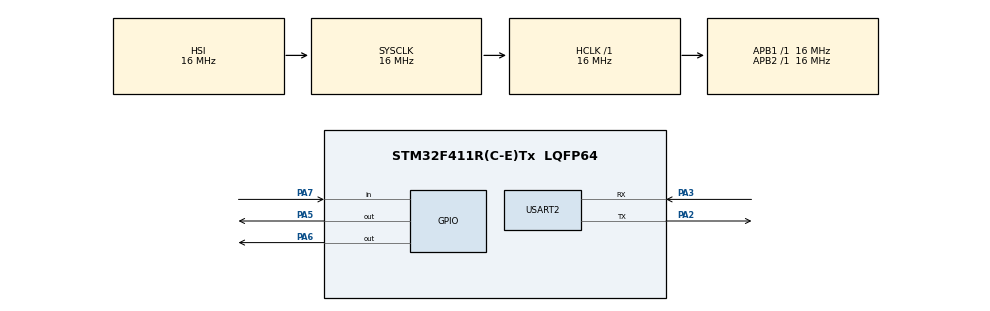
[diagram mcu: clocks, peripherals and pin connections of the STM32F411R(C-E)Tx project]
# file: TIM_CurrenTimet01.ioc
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Mcu.Family=STM32F4
Mcu.Name=STM32F411R(C-E)Tx
Mcu.Package=LQFP64
NVIC.FPU_IRQn=true\:2\:0\:true\:false\:true\:true
NVIC.PriorityGroup=NVIC_PRIORITYGROUP_4
NVIC.TIM1_UP_TIM10_IRQn=true\:1\:0\:true\:false\:true\:true
PA2.GPIO_Speed=GPIO_SPEED_FREQ_HIGH
PA2.Mode=Asynchronous
PA2.Signal=USART2_TX
PA3.GPIO_Speed=GPIO_SPEED_FREQ_HIGH
PA3.Mode=Asynchronous
PA3.Signal=USART2_RX
PA5.GPIO_Speed=GPIO_SPEED_FREQ_VERY_HIGH
PA5.Signal=GPIO_Output
PA6.GPIO_Speed=GPIO_SPEED_FREQ_VERY_HIGH
PA6.Signal=GPIO_Output
PA7.Signal=GPIO_Input
ProjectManager.HeapSize=0x200
ProjectManager.StackSize=0x400
ProjectManager.TargetToolchain=MDK-ARM V5
RCC.AHBFreq_Value=16000000
RCC.APB1Freq_Value=16000000
RCC.APB2Freq_Value=16000000
RCC.CortexFreq_Value=16000000
RCC.HSE_VALUE=25000000
RCC.HSI_VALUE=16000000
RCC.LSE_VALUE=32768
RCC.SYSCLKFreq_VALUE=16000000
RCC.VCOOutputFreq_Value=192000000
TIM1.Period=400-1
TIM1.Prescaler=40-1
USART2.VirtualMode=VM_ASYNC
VP_TIM1_VS_ClockSourceINT.Mode=Internal
board=TIM_CurrenTimet01

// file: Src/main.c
/**
  ******************************************************************************
  * @file           : main.c
  * @brief          : Main program body
  ******************************************************************************
  ** This notice applies to any and all portions of this file
  * that are not between comment pairs USER CODE BEGIN and
  * USER CODE END. Other portions of this file, whether
  * inserted by the user or by software development tools
  * are owned by their respective copyright owners.
  *
  * COPYRIGHT(c) 2018 STMicroelectronics
  *
  * Redistribution and use in source and binary forms, with or without modification,
  * are permitted provided that the following conditions are met:
  *   1. Redistributions of source code must retain the above copyright notice,
  *      this list of conditions and the following disclaimer.
  *   2. Redistributions in binary form must reproduce the above copyright notice,
  *      this list of conditions and the following disclaimer in the documentation
  *      and/or other materials provided with the distribution.
  *   3. Neither the name of STMicroelectronics nor the names of its contributors
  *      may be used to endorse or promote products derived from this software
  *      without specific prior written permission.
  *
  * THIS SOFTWARE IS PROVIDED BY THE COPYRIGHT HOLDERS AND CONTRIBUTORS "AS IS"
  * AND ANY EXPRESS OR IMPLIED WARRANTIES, INCLUDING, BUT NOT LIMITED TO, THE
  * IMPLIED WARRANTIES OF MERCHANTABILITY AND FITNESS FOR A PARTICULAR PURPOSE ARE
  * DISCLAIMED. IN NO EVENT SHALL THE COPYRIGHT HOLDER OR CONTRIBUTORS BE LIABLE
  * FOR ANY DIRECT, INDIRECT, INCIDENTAL, SPECIAL, EXEMPLARY, OR CONSEQUENTIAL
  * DAMAGES (INCLUDING, BUT NOT LIMITED TO, PROCUREMENT OF SUBSTITUTE GOODS OR
  * SERVICES; LOSS OF USE, DATA, OR PROFITS; OR BUSINESS INTERRUPTION) HOWEVER
  * CAUSED AND ON ANY THEORY OF LIABILITY, WHETHER IN CONTRACT, STRICT LIABILITY,
  * OR TORT (INCLUDING NEGLIGENCE OR OTHERWISE) ARISING IN ANY WAY OUT OF THE USE
  * OF THIS SOFTWARE, EVEN IF ADVISED OF THE POSSIBILITY OF SUCH DAMAGE.
  *
  ******************************************************************************
  */
#include "main.h"
#include "stm32f4xx_hal.h"

/* USER CODE BEGIN Includes */
#include <string.h>
/* USER CODE END Includes */

TIM_HandleTypeDef htim1;

UART_HandleTypeDef huart2;

/* USER CODE BEGIN PV */
/* Private variables ---------------------------------------------------------*/
int time;
int count = 0;
char cmd[50];
char value[205];
char input[255];

uint8_t alarm_lock = 0;
uint8_t alarm_enabled = 0;
uint32_t alarm_end = 0;

char alarmtime[8] = "00:00:00";
char strtime[8] = "00:00:00";
/* USER CODE END PV */

void SystemClock_Config(void);
static void MX_GPIO_Init(void);
static void MX_TIM1_Init(void);
static void MX_USART2_UART_Init(void);

/* USER CODE BEGIN PFP */
/* Private function prototypes -----------------------------------------------*/
void setAlarm(void);
void extractCmd(void);
void scan(uint8_t * msg);
void print(uint8_t * msg, uint8_t len);
void clearInput(void);
void setTime(void);
void getTimeFormat(void);
/* USER CODE END PFP */

int main(void)
{

  /* MCU Configuration----------------------------------------------------------*/

  /* Reset of all peripherals, Initializes the Flash interface and the Systick. */
  HAL_Init();

  /* Configure the system clock */
  SystemClock_Config();

  /* Initialize all configured peripherals */
  MX_GPIO_Init();
  MX_TIM1_Init();
  MX_USART2_UART_Init();
  /* USER CODE BEGIN 2 */
	HAL_TIM_Base_Start_IT(&htim1);

	char buffer = 0x00;
	char cmptime[8];

  /* USER CODE END 2 */

  /* Infinite loop */
  while (1)
  {

  /* USER CODE BEGIN 3 */
		buffer = 0x00;

		if (time >= 86400000) time = 0;

		getTimeFormat();
		strcpy(cmptime, strtime);
		print((uint8_t *) &strtime, 9);
		print((uint8_t*) "\r", 1);

		if (HAL_GPIO_ReadPin(GPIOA, GPIO_PIN_7) == SET)
		{
			alarm_lock = 0;
		}

		if (alarm_enabled)
		{
			if (strcmp(cmptime, alarmtime) == -48)
			{
				alarm_lock = 1;
				alarm_end = time + 60000;
				if (alarm_end >= 86400000) alarm_end = 86400000 - time + 60000;
			}

			if (alarm_lock)
			{
				HAL_GPIO_WritePin(GPIOA, GPIO_PIN_5, GPIO_PIN_SET);
				HAL_Delay(500);
				HAL_GPIO_WritePin(GPIOA, GPIO_PIN_5, GPIO_PIN_RESET);
				print((uint8_t *) "ohayo !! .....\n\r", 20);
				HAL_Delay(500);

				if (alarm_end <= time) alarm_lock = 0;
			}
		}

		scan((uint8_t *) &buffer);

		if (buffer > 0)
		{
			if (buffer != 0x0D)
			{
				input[count] = buffer;
				count++;
			}
			else
			{
				extractCmd();
				print((uint8_t*) cmd, 50);
				print((uint8_t*) " ", 1);
				print((uint8_t*) value, 205);
				print((uint8_t*) "\n\r", 2);

				if (strcmp(cmd, "set") == 0) setTime();
				else if (strcmp(cmd, "alarm") == 0) setAlarm();

				clearInput();
				buffer = 0x00;
			}
		}
  }
  /* USER CODE END 3 */

}

void SystemClock_Config(void)
{

  RCC_OscInitTypeDef RCC_OscInitStruct;
  RCC_ClkInitTypeDef RCC_ClkInitStruct;

    /**Configure the main internal regulator output voltage
    */
  __HAL_RCC_PWR_CLK_ENABLE();

  __HAL_PWR_VOLTAGESCALING_CONFIG(PWR_REGULATOR_VOLTAGE_SCALE1);

    /**Initializes the CPU, AHB and APB busses clocks
    */
  RCC_OscInitStruct.OscillatorType = RCC_OSCILLATORTYPE_HSI;
  RCC_OscInitStruct.HSIState = RCC_HSI_ON;
  RCC_OscInitStruct.HSICalibrationValue = 16;
  RCC_OscInitStruct.PLL.PLLState = RCC_PLL_NONE;
  if (HAL_RCC_OscConfig(&RCC_OscInitStruct) != HAL_OK)
  {
    _Error_Handler(__FILE__, __LINE__);
  }

    /**Initializes the CPU, AHB and APB busses clocks
    */
  RCC_ClkInitStruct.ClockType = RCC_CLOCKTYPE_HCLK|RCC_CLOCKTYPE_SYSCLK
                              |RCC_CLOCKTYPE_PCLK1|RCC_CLOCKTYPE_PCLK2;
  RCC_ClkInitStruct.SYSCLKSource = RCC_SYSCLKSOURCE_HSI;
  RCC_ClkInitStruct.AHBCLKDivider = RCC_SYSCLK_DIV1;
  RCC_ClkInitStruct.APB1CLKDivider = RCC_HCLK_DIV1;
  RCC_ClkInitStruct.APB2CLKDivider = RCC_HCLK_DIV1;

  if (HAL_RCC_ClockConfig(&RCC_ClkInitStruct, FLASH_LATENCY_0) != HAL_OK)
  {
    _Error_Handler(__FILE__, __LINE__);
  }

    /**Configure the Systick interrupt time
    */
  HAL_SYSTICK_Config(HAL_RCC_GetHCLKFreq()/1000);

    /**Configure the Systick
    */
  HAL_SYSTICK_CLKSourceConfig(SYSTICK_CLKSOURCE_HCLK);

  /* SysTick_IRQn interrupt configuration */
  HAL_NVIC_SetPriority(SysTick_IRQn, 0, 0);
}

/* TIM1 init function */
static void MX_TIM1_Init(void)
{

  TIM_ClockConfigTypeDef sClockSourceConfig;
  TIM_MasterConfigTypeDef sMasterConfig;

  htim1.Instance = TIM1;
  htim1.Init.Prescaler = 40-1;
  htim1.Init.CounterMode = TIM_COUNTERMODE_UP;
  htim1.Init.Period = 400-1;
  htim1.Init.ClockDivision = TIM_CLOCKDIVISION_DIV1;
  htim1.Init.RepetitionCounter = 0;
  if (HAL_TIM_Base_Init(&htim1) != HAL_OK)
  {
    _Error_Handler(__FILE__, __LINE__);
  }

  sClockSourceConfig.ClockSource = TIM_CLOCKSOURCE_INTERNAL;
  if (HAL_TIM_ConfigClockSource(&htim1, &sClockSourceConfig) != HAL_OK)
  {
    _Error_Handler(__FILE__, __LINE__);
  }

  sMasterConfig.MasterOutputTrigger = TIM_TRGO_RESET;
  sMasterConfig.MasterSlaveMode = TIM_MASTERSLAVEMODE_DISABLE;
  if (HAL_TIMEx_MasterConfigSynchronization(&htim1, &sMasterConfig) != HAL_OK)
  {
    _Error_Handler(__FILE__, __LINE__);
  }

}

/* USART2 init function */
static void MX_USART2_UART_Init(void)
{

  huart2.Instance = USART2;
  huart2.Init.BaudRate = 115200;
  huart2.Init.WordLength = UART_WORDLENGTH_8B;
  huart2.Init.StopBits = UART_STOPBITS_1;
  huart2.Init.Parity = UART_PARITY_NONE;
  huart2.Init.Mode = UART_MODE_TX_RX;
  huart2.Init.HwFlowCtl = UART_HWCONTROL_NONE;
  huart2.Init.OverSampling = UART_OVERSAMPLING_16;
  if (HAL_UART_Init(&huart2) != HAL_OK)
  {
    _Error_Handler(__FILE__, __LINE__);
  }

}

/** Configure pins as
        * Analog
        * Input
        * Output
        * EVENT_OUT
        * EXTI
*/
static void MX_GPIO_Init(void)
{

  GPIO_InitTypeDef GPIO_InitStruct;

  /* GPIO Ports Clock Enable */
  __HAL_RCC_GPIOA_CLK_ENABLE();

  /*Configure GPIO pin Output Level */
  HAL_GPIO_WritePin(GPIOA, GPIO_PIN_5|GPIO_PIN_6, GPIO_PIN_RESET);

  /*Configure GPIO pins : PA5 PA6 */
  GPIO_InitStruct.Pin = GPIO_PIN_5|GPIO_PIN_6;
  GPIO_InitStruct.Mode = GPIO_MODE_OUTPUT_PP;
  GPIO_InitStruct.Pull = GPIO_NOPULL;
  GPIO_InitStruct.Speed = GPIO_SPEED_FREQ_VERY_HIGH;
  HAL_GPIO_Init(GPIOA, &GPIO_InitStruct);

  /*Configure GPIO pin : PA7 */
  GPIO_InitStruct.Pin = GPIO_PIN_7;
  GPIO_InitStruct.Mode = GPIO_MODE_INPUT;
  GPIO_InitStruct.Pull = GPIO_NOPULL;
  HAL_GPIO_Init(GPIOA, &GPIO_InitStruct);

}

/* USER CODE BEGIN 4 */
void setAlarm(void)
{
	if (strlen(value) == 8)
	{
		alarm_enabled = 1;
		strcpy(alarmtime, value);
	}
}

void extractCmd(void)
{
	int8_t inx = -1;
	uint8_t len = strlen(input);

	for (int i = 0; i < len; i++)
	{
		if (input[i] == ' ')
		{
			inx = i; break;
		}
	}

	if (inx > -1)
	{
		for (int i = 0; i < inx; i++)
		{
			cmd[i] = input[i];
		}

		inx = inx + 1;

		for (int i = inx; i < len; i++)
		{
			value[i - inx] = input[i];
		}
	}
}

void scan(uint8_t * msg)
{
	HAL_UART_Receive(&huart2, msg, 1, 1000);
}

void print(uint8_t * msg, uint8_t len)
{
	HAL_UART_Transmit(&huart2, msg, len, 1000);
}

void clearInput(void)
{
		count = 0;
		for (int i = strlen(cmd); i > -1; i--) cmd[i] = 0x00;
		for (int i = strlen(value); i > -1; i--) value[i] = 0x00;
		for (int i = strlen(input); i > -1; i--) input[i] = 0x00;
}

void setTime(void)
{
	if (strlen(value) == 8)
	{
		int hh = (((value[0] - 48) * 10) + (value[1] - 48)) * 3600000;
		int mm = (((value[3] - 48) * 10) + (value[4] - 48)) * 60000;
		int ss = (((value[6] - 48) * 10) + (value[7] - 48)) * 1000;

		time = hh + mm + ss;
	}
}

void getTimeFormat(void)
{
	int seconds = time / 1000;
	int minutes = seconds / 60;
	int hours = minutes / 60;

	sprintf(strtime, "%02d:%02d:%02d", hours % 60, minutes % 60, seconds % 60);
}
/* USER CODE END 4 */

void _Error_Handler(char *file, int line)
{
  while(1)
  {
  }
}

/************************ (C) COPYRIGHT STMicroelectronics *****END OF FILE****/
